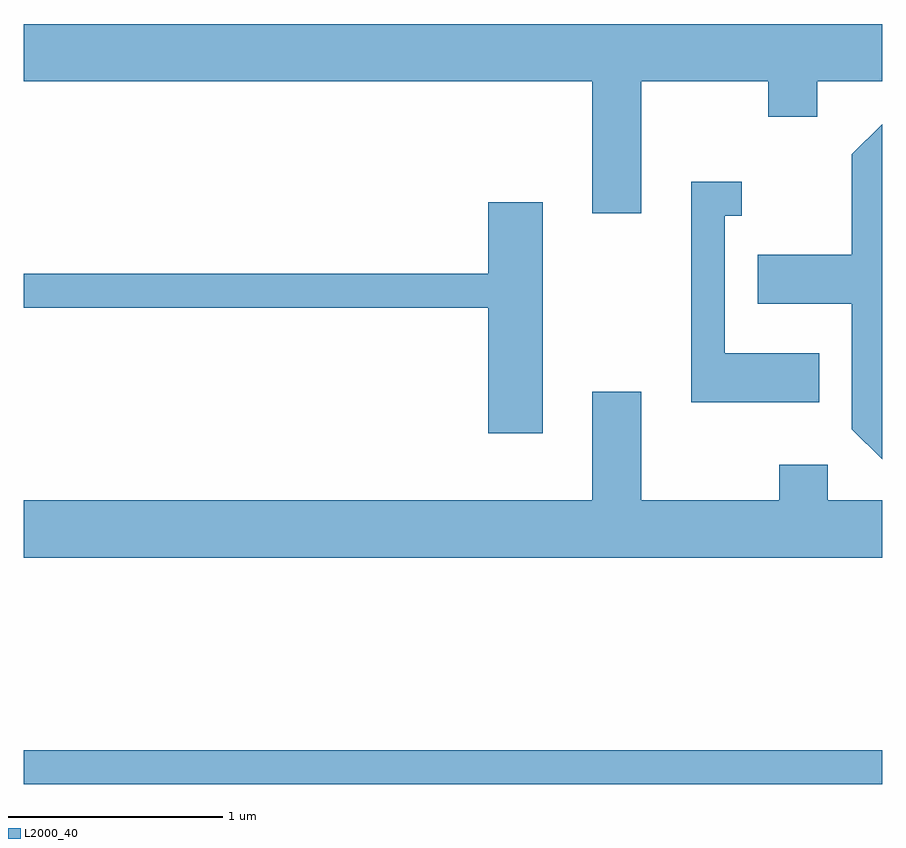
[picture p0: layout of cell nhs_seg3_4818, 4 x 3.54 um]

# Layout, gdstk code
import gdstk
lib = gdstk.Library(unit=1e-6, precision=1e-09)
def R(c, l, rs):  # rectangles x0, y0, x1, y1
    for r in rs: c.add(gdstk.rectangle(r[:2], r[2:], *l))
def P(c, l, *ps):  # polygons
    for p in ps: c.add(gdstk.Polygon(p, *l))
L2000_40 = (2000, 40)

nhs_seg3_4818 = lib.new_cell('nhs_seg3_4818')
R(nhs_seg3_4818, L2000_40, [(325.611,1235.961,329.611,1236.119)])
P(nhs_seg3_4818, L2000_40, [(328.489,1239.236),(329.081,1239.236),(329.081,1239.071),(329.309,1239.071),(329.309,1239.236),(329.611,1239.236),(329.611,1239.504),(325.611,1239.504),(325.611,1239.236),(328.261,1239.236),(328.261,1238.621),(328.489,1238.621)],
  [(329.611,1239.036),(329.471,1238.897),(329.471,1238.429),(329.031,1238.429),(329.031,1238.201),(329.471,1238.201),(329.471,1237.614),(329.611,1237.474)],
  [(329.319,1237.969),(328.879,1237.969),(328.879,1238.611),(328.958,1238.611),(328.958,1238.769),(328.721,1238.769),(328.721,1237.741),(329.319,1237.741)],
  [(328.029,1238.674),(327.776,1238.674),(327.776,1238.339),(325.611,1238.339),(325.611,1238.181),(327.776,1238.181),(327.776,1237.596),(328.029,1237.596)],
  [(329.611,1237.284),(329.359,1237.284),(329.359,1237.449),(329.131,1237.449),(329.131,1237.284),(328.489,1237.284),(328.489,1237.789),(328.261,1237.789),(328.261,1237.284),(325.611,1237.284),(325.611,1237.016),(329.611,1237.016)])

lib.write_gds('nhs_seg3_4818.gds')
